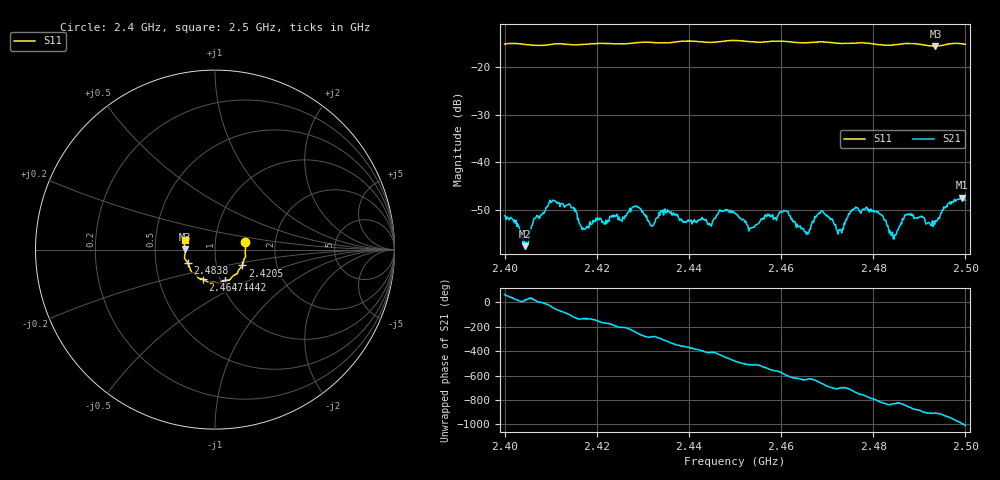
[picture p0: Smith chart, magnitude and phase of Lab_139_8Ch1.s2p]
# Hz S RI R 50
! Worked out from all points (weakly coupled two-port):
!   601 points, 2.4 GHz to 2.5 GHz, reference 50 ohm
!   highest |S21| = -47.38 dB at 2.4992 GHz (marker M1); lowest = -57.5 dB at 2.4045 GHz (marker M2)
!   lowest |S11| = -15.6 dB at 2.4935 GHz (marker M3), VSWR 1.40, Z = 35.8 + j0.137 ohm
!   |S11| at or under -10 dB: start of sweep to end of sweep
!   S12 and S22 are empty: the file has one direction only
!   S11 on the Smith chart (normalised r, x): 2.4 GHz: 1.40, +0.11; 2.4205 GHz: 1.34, -0.24; 2.4442 GHz: 1.05, -0.37; 2.4647 GHz: 0.83, -0.29; 2.4838 GHz: 0.73, -0.11; 2.5 GHz: 0.71, +0.08
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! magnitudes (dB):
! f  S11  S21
! 2.4 GHz  -15.2  -51.1
! 2.4045 GHz  -15.3  -57.5
! 2.4103 GHz  -15.2  -48.1
! 2.4145 GHz  -15.3  -49.5
! 2.4167 GHz  -15.3  -53.6
! 2.4205 GHz  -15.1  -52.0
! 2.4333 GHz  -15.0  -51.5
! 2.4442 GHz  -14.8  -53.1
! 2.45 GHz  -14.4  -50.6
! 2.4535 GHz  -14.7  -53.7
! 2.461 GHz  -14.6  -50.2
! 2.4647 GHz  -14.9  -53.9
! 2.4667 GHz  -14.8  -52.8
! 2.469 GHz  -14.8  -50.1
! 2.4727 GHz  -15.1  -54.0
! 2.4782 GHz  -15.0  -49.9
! 2.4833 GHz  -15.4  -54.1
! 2.4838 GHz  -15.4  -55.2
! 2.4875 GHz  -15.1  -50.8
! 2.4935 GHz  -15.6  -52.2
! 2.4992 GHz  -15.1  -47.4
! 2.5 GHz  -15.2  -47.9
